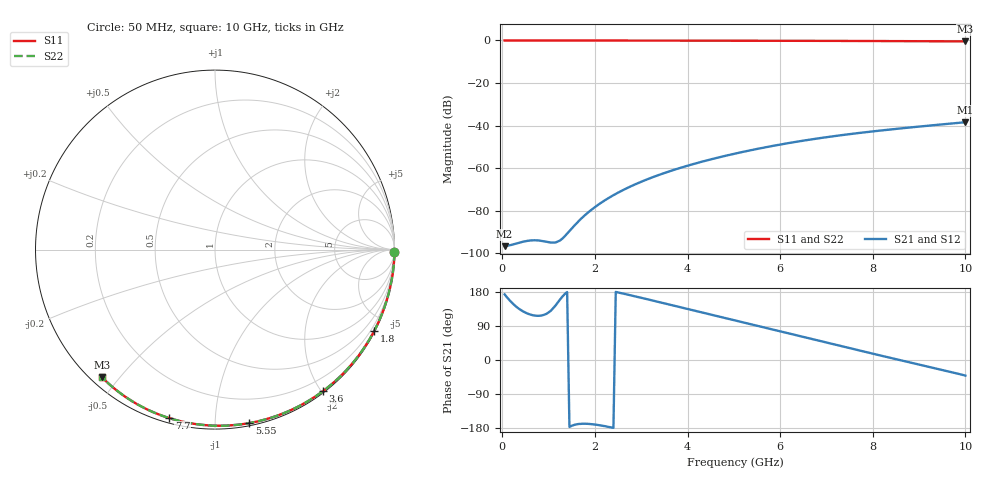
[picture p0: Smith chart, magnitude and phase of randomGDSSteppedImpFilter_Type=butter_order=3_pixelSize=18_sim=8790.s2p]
! freq	dB(S11)	phase(S11)	dB(S12)	phase(S12)
!  dB(S21)	phase(S21)	dB(S22)	phase(S22)
!S-par simulation data
#  GHz  S  DB  R 50
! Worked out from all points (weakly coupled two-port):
!   200 points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, 50 MHz to 10 GHz, reference 50 ohm
!   highest |S21| = -38.42 dB at 10 GHz (marker M1); lowest = -96.7 dB at 50 MHz (marker M2)
!   lowest |S11| = -0.4 dB at 10 GHz (marker M3), VSWR 38.91, Z = 1.54 - j22.4 ohm
!   |S11| at or under -10 dB: nowhere
!   |S22| runs from -0.4 to 0.0 dB; largest |S21 - S12| = 0
!   S11 on the Smith chart (normalised r, x): 50 MHz: open; 1.8 GHz: 0.04, -4.17; 3.6 GHz: 0.02, -2.02; 5.55 GHz: 0.02, -1.22; 7.7 GHz: 0.02, -0.76; 10 GHz: 0.03, -0.45
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0.05  -0.00 -0.8  -96.66 173.2  -96.66 173.2  -0.00 -0.8
0.45  -0.01 -6.8  -94.55 128.2  -94.55 128.2  -0.01 -6.8
0.9  -0.02 -13.6  -94.37 119.2  -94.37 119.2  -0.02 -13.6
1.75  -0.03 -26.3  -82.78 -168.1  -82.78 -168.1  -0.03 -26.3
1.8  -0.03 -27.0  -81.81 -168.2  -81.81 -168.2  -0.03 -27.0
1.9  -0.04 -28.5  -79.99 -168.9  -79.99 -168.9  -0.04 -28.5
2.05  -0.04 -30.7  -77.52 -171.2  -77.52 -171.2  -0.04 -30.7
2.25  -0.04 -33.6  -74.62 -175.4  -74.62 -175.4  -0.04 -33.6
2.45  -0.05 -36.5  -72.09 179.6  -72.09 179.6  -0.05 -36.5
2.65  -0.05 -39.3  -69.83 174.2  -69.83 174.2  -0.05 -39.3
3  -0.06 -44.3  -66.39 164.2  -66.39 164.2  -0.06 -44.3
3.4  -0.07 -50.0  -63.05 152.4  -63.05 152.4  -0.07 -50.0
3.6  -0.07 -52.8  -61.56 146.5  -61.56 146.5  -0.07 -52.8
4.3  -0.09 -62.4  -57.03 125.8  -57.03 125.8  -0.09 -62.4
5.05  -0.11 -72.3  -53.05 103.7  -53.05 103.7  -0.11 -72.3
5.55  -0.13 -78.8  -50.76 88.9  -50.76 88.9  -0.13 -78.8
6.1  -0.15 -85.8  -48.53 72.6  -48.53 72.6  -0.15 -85.8
6.7  -0.18 -93.2  -46.40 54.7  -46.40 54.7  -0.18 -93.2
7.7  -0.24 -105.2  -43.48 25.3  -43.48 25.3  -0.24 -105.2
8.35  -0.29 -112.8  -41.90 6.6  -41.90 6.6  -0.29 -112.9
9.15  -0.36 -122.0  -40.15 -16.1  -40.15 -16.1  -0.36 -122.0
10  -0.45 -131.7  -38.42 -41.1  -38.42 -41.1  -0.45 -131.7
